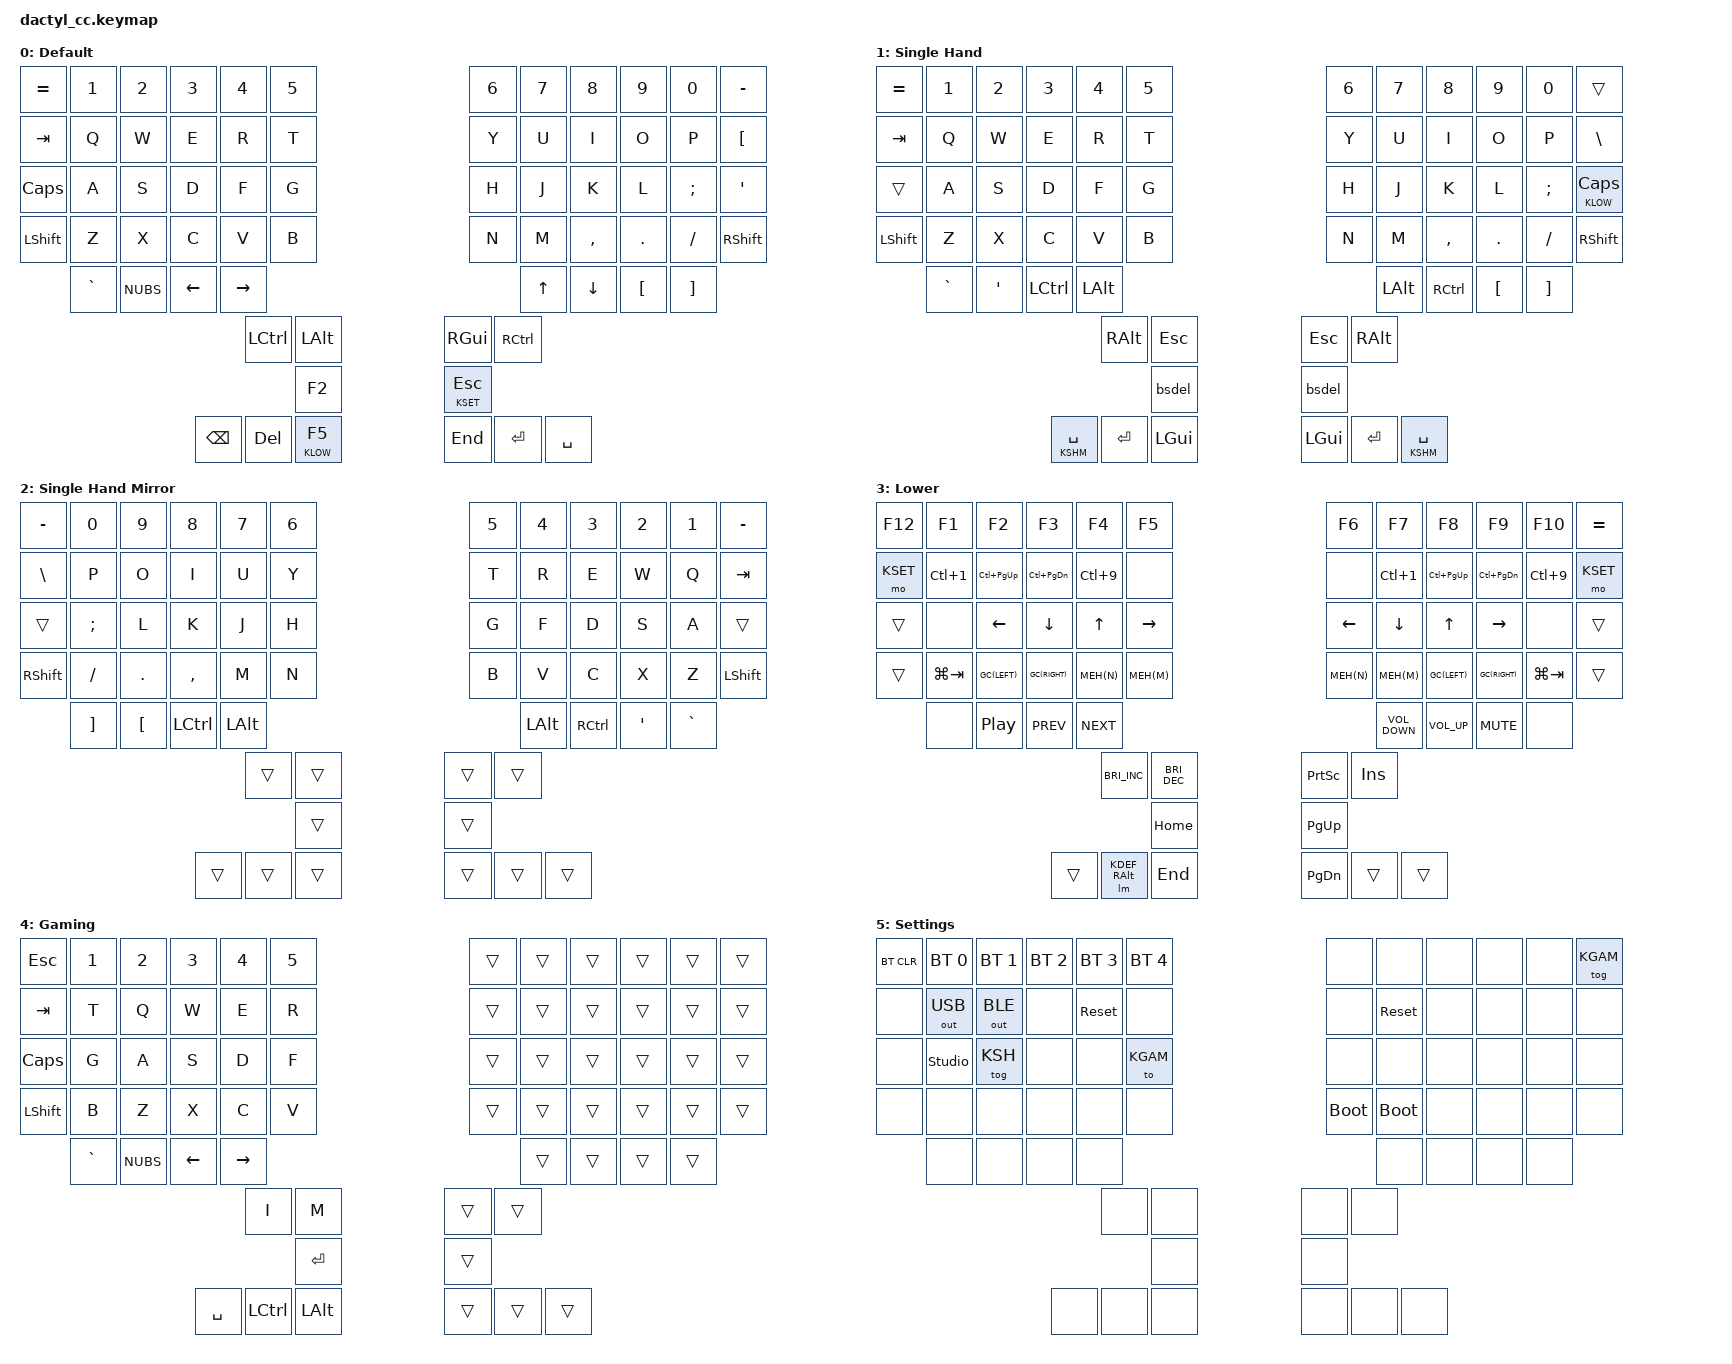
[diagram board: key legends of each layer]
#include <behaviors.dtsi>
#include <dt-bindings/zmk/keys.h>
#include <dt-bindings/zmk/bt.h>
#include <dt-bindings/zmk/outputs.h>

#define KDEF         0 // Default layer
#define KSH          1 // Single Hand layer
#define KSHM         2 // Single Hand Mirror layer
#define KLOW         3 // Lower layer
#define KGAM         4 // Gaming overlay
#define KSET         5 // Settings layer

// Modifiers
#define HYPER(key)   LS(LC(LA(LG(key)))) // LSHFT+LCTRL+LALT+LGUI
#define MEH(key)     LS(LC(LA(key))) // LSHFT+LCTRL+LALT
#define GC(key)      LG(LC(key)) // LGUI+LCTRL

// Shortcuts
#define SP           SPACE
#define ALTGR        RALT

#define BRI_DN       C_BRIGHTNESS_DEC
#define BRI_UP       C_BRIGHTNESS_INC
#define VOL_UP       C_VOLUME_UP
#define VOL_DN       C_VOLUME_DOWN


&kscan0 {
       debounce-press-ms = <30>;
       debounce-release-ms = <30>;
};

/ {
       behaviors {
              bsdel: backspace_delete {
                     compatible = "zmk,behavior-mod-morph";
                     #binding-cells = <0>;
                     bindings = <&kp BACKSPACE>, <&kp DELETE>;
                     mods = <(MOD_LSFT|MOD_RSFT)>;
              };              
              studio_unlock: studio_unlock {
                     compatible = "zmk,behavior-studio-unlock";
                     #binding-cells = <0>;
              };       };

       macros {
              /**
              * Temporarily switches to a layer (`&mo`) while a modifier is held.
              * Analogous to QMK's `LM()`, using a parameterized macro.
              *
              * Params:
              *  1. Layer to switch to
              *  2. Modifier to press while layer is active
              *
              * Example:
              *  `&lm NUM_LAYER LSHIFT`
              */
              lm: lm {
                     compatible = "zmk,behavior-macro-two-param";
                     wait-ms = <0>;
                     tap-ms = <0>;
                     #binding-cells = <2>;
                     bindings
                         = <&macro_param_1to1>
                         , <&macro_press &mo MACRO_PLACEHOLDER>
                         , <&macro_param_2to1>
                         , <&macro_press &kp MACRO_PLACEHOLDER>
                         , <&macro_pause_for_release>
                         , <&macro_param_2to1>
                         , <&macro_release &kp MACRO_PLACEHOLDER>
                         , <&macro_param_1to1>
                         , <&macro_release &mo MACRO_PLACEHOLDER>
                         ;
                 };
       };

       keymap {
              compatible = "zmk,keymap";

              default_layer {
                     display-name = "Default";
                     bindings = <
&kp EQUAL     &kp N1        &kp N2        &kp N3        &kp N4        &kp N5        &kp N6        &kp N7        &kp N8        &kp N9        &kp N0        &kp MINUS
&kp TAB       &kp Q         &kp W         &kp E         &kp R         &kp T         &kp Y         &kp U         &kp I         &kp O         &kp P         &kp LBKT
&kp CAPS      &kp A         &kp S         &kp D         &kp F         &kp G         &kp H         &kp J         &kp K         &kp L         &kp SEMI      &kp SQT
&kp LSHFT     &kp Z         &kp X         &kp C         &kp V         &kp B         &kp N         &kp M         &kp COMMA     &kp DOT       &kp FSLH      &kp RSHFT
              &kp GRAVE     &kp NUBS      &kp LEFT      &kp RIGHT                                 &kp UP        &kp DOWN      &kp LBKT      &kp RBKT
                                                        &kp LCTRL     &kp LALT      &kp RGUI      &kp RCTRL 
                                                                      &kp F2        &lt KSET ESC
                                          &kp BSPC      &kp DEL       &lt KLOW F5   &kp END       &kp ENTER       &kp SPACE
                     >;
              };

              single_hand_layer {
                     display-name = "Single Hand";
                     bindings = <
&kp EQUAL     &kp N1        &kp N2        &kp N3        &kp N4        &kp N5        &kp N6        &kp N7        &kp N8        &kp N9        &kp N0        &trans
&kp TAB       &kp Q         &kp W         &kp E         &kp R         &kp T         &kp Y         &kp U         &kp I         &kp O         &kp P         &kp BSLH
&trans        &kp A         &kp S         &kp D         &kp F         &kp G         &kp H         &kp J         &kp K         &kp L         &kp SEMI      &lt KLOW CAPS
&kp LSHFT     &kp Z         &kp X         &kp C         &kp V         &kp B         &kp N         &kp M         &kp COMMA     &kp DOT       &kp FSLH      &kp RSHFT
              &kp GRAVE     &kp SQT       &kp LCTRL     &kp LALT                                  &kp LALT      &kp RCTRL     &kp LBKT      &kp RBKT
                                                        &kp ALTGR     &kp ESC       &kp ESC       &kp ALTGR
                                                                      &bsdel        &bsdel
                                          &lt KSHM SP   &kp RET       &kp LGUI      &kp LGUI      &kp RET       &lt KSHM SP
                     >;
              };

              single_hand_mirror_layer {
                     display-name = "Single Hand Mirror";
                     bindings = <
&kp MINUS     &kp N0        &kp N9        &kp N8        &kp N7        &kp N6        &kp N5        &kp N4        &kp N3        &kp N2        &kp N1        &kp MINUS
&kp BSLH      &kp P         &kp O         &kp I         &kp U         &kp Y         &kp T         &kp R         &kp E         &kp W         &kp Q         &kp TAB
&trans        &kp SEMI      &kp L         &kp K         &kp J         &kp H         &kp G         &kp F         &kp D         &kp S         &kp A         &trans
&kp RSHFT     &kp FSLH      &kp DOT       &kp COMMA     &kp M         &kp N         &kp B         &kp V         &kp C         &kp X         &kp Z         &kp LSHIFT
              &kp RBKT      &kp LBKT      &kp LCTRL     &kp LALT                                  &kp LALT      &kp RCTRL     &kp SQT       &kp GRAVE
                                                        &trans        &trans        &trans        &trans
                                                                      &trans        &trans
                                          &trans        &trans        &trans        &trans        &trans        &trans
                     >;
              };

              lower_layer {
                     display-name = "Lower";
                     bindings = <
&kp F12       &kp F1        &kp F2        &kp F3        &kp F4        &kp F5        &kp F6        &kp F7        &kp F8        &kp F9        &kp F10       &kp EQUAL
&mo KSET      &kp LC(1)     &kp LC(PG_UP) &kp LC(PG_DN) &kp LC(9)     &none         &none         &kp LC(1)     &kp LC(PG_UP) &kp LC(PG_DN) &kp LC(9)     &mo KSET
&trans        &none         &kp LEFT      &kp DOWN      &kp UP        &kp RIGHT     &kp LEFT      &kp DOWN      &kp UP        &kp RIGHT     &none         &trans
&trans        &kp LG(TAB)   &kp GC(LEFT)  &kp GC(RIGHT) &kp MEH(N)    &kp MEH(M)    &kp MEH(N)    &kp MEH(M)    &kp GC(LEFT)  &kp GC(RIGHT) &kp LG(TAB)   &trans
              &none         &kp C_PP      &kp C_PREV    &kp C_NEXT                                &kp VOL_DN    &kp VOL_UP    &kp C_MUTE    &none
                                                        &kp BRI_UP    &kp BRI_DN    &kp PSCRN     &kp INS
                                                                      &kp HOME      &kp PG_UP
                                          &trans        &lm KDEF RALT &kp END       &kp PG_DN     &trans        &trans
                     >;
              };

              game_layer {
                     display-name = "Gaming";
                     bindings = <
&kp ESC       &kp N1        &kp N2        &kp N3        &kp N4        &kp N5        &trans        &trans        &trans        &trans        &trans        &trans
&kp TAB       &kp T         &kp Q         &kp W         &kp E         &kp R         &trans        &trans        &trans        &trans        &trans        &trans
&kp CAPS      &kp G         &kp A         &kp S         &kp D         &kp F         &trans        &trans        &trans        &trans        &trans        &trans
&kp LSHFT     &kp B         &kp Z         &kp X         &kp C         &kp V         &trans        &trans        &trans        &trans        &trans        &trans
              &kp GRAVE     &kp NUBS      &kp LEFT      &kp RIGHT                                 &trans        &trans        &trans        &trans
                                                        &kp I         &kp M         &trans        &trans
                                                                      &kp ENTER     &trans
                                          &kp SP        &kp LCTRL     &kp LALT      &trans        &trans        &trans
                     >;
              };

              settings_layer {
                     display-name = "Settings";
                     bindings = <
&bt BT_CLR    &bt BT_SEL 0  &bt BT_SEL 1  &bt BT_SEL 2  &bt BT_SEL 3  &bt BT_SEL 4  &none         &none         &none         &none         &none         &tog KGAM
&none         &out OUT_USB  &out OUT_BLE  &none         &sys_reset    &none         &none         &sys_reset    &none         &none         &none         &none
&none         &studio_unlock &tog KSH     &none         &none         &to KGAM      &none         &none         &none         &none         &none         &none
&none         &none         &none         &none         &none         &none         &bootloader   &bootloader   &none         &none         &none         &none
              &none         &none         &none         &none                                     &none         &none         &none         &none
                                                        &none         &none         &none         &none
                                                                      &none         &none
                                          &none         &none         &none         &none         &none         &none
                     >;
              };

       };
};
